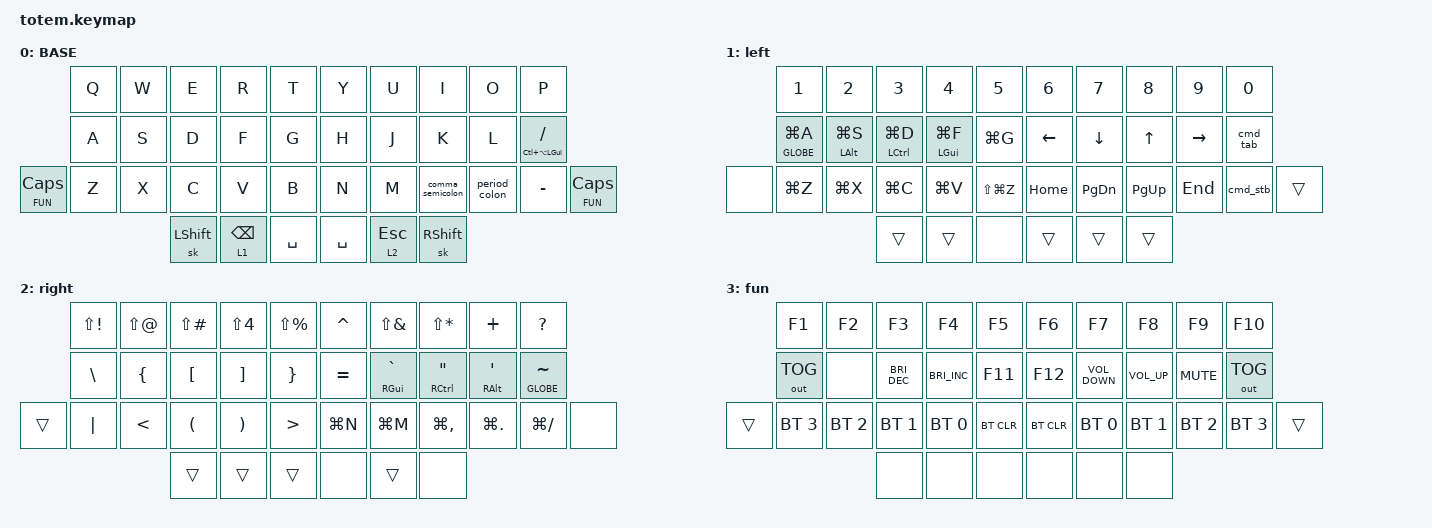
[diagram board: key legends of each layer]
//
//                                                        ▀▀▀▀▀     ▀▀▀▀▀          ▀▀█▀▀
//                                                        ▄▀▀▀▄  ▄  ▄▀▀▀▄  ▄  ▄▀▀▀▄  █  ▄▀▀▀▄
//                                                        █   █  █  █   █  █  █   █  █  █   █
//                                                         ▀▀▀   █   ▀▀▀   █   ▀▀▀   ▀   ▀▀▀
//                                                               █      ▄▄▄█▄▄▄    █   █  
//                                                               ▀      █  █  █     █▄█
//                                                             ▀▀▀▀▀    █  █  █      ▀
//                                                                      ▀  ▀  ▀
//
// ▄▄▄▄▄▄▄▄▄▄▄▄▄▄▄▄▄▄▄▄▄▄▄▄▄▄▄▄▄▄▄▄▄▄▄▄▄▄▄▄▄▄▄▄▄▄▄▄▄▄▄▄▄▄▄▄▄▄▄▄▄▄▄▄▄▄▄▄▄▄▄▄▄▄▄▄▄▄▄▄▄▄▄▄▄▄▄▄▄▄▄▄▄▄▄▄▄▄▄▄▄▄▄▄▄▄▄▄▄▄▄▄▄▄▄▄▄▄▄▄▄▄▄▄▄▄▄▄▄▄▄▄▄▄▄▄▄▄▄▄▄▄▄▄▄▄▄▄▄

#include <behaviors.dtsi>
#include <dt-bindings/zmk/bt.h>
#include <dt-bindings/zmk/keys.h>
#include <dt-bindings/zmk/outputs.h>

#define BASE 0
#define NAV  1
#define SYM  2
#define FUN  3

&caps_word { continue-list = <UNDERSCORE BACKSPACE DELETE LEFT_ARROW DOWN_ARROW UP_ARROW RIGHT_ARROW HOME END PAGE_DOWN PAGE_UP MINUS LEFT_SHIFT RIGHT_SHIFT>; };

&mt { tapping-term-ms = <150>; };

&lt { tapping-term-ms = <150>; };

&sk { quick-release; };

/ {
    combos {
        compatible = "zmk,combos";

        enter {
            bindings = <&kp RET>;
            key-positions = <16 17>;
            layers = <0>;
        };

        bs_df {
            bindings = <&bwd_dwd>;
            key-positions = <12 13>;
            layers = <0>;
        };

        caps_word {
            bindings = <&caps>;
            key-positions = <32 37>;
            layers = <0>;
        };

        cmd_shift_nav {
            bindings = <&cmd_shift>;
            key-positions = <12 13>;
            layers = <1>;
        };

        cmd_shift_sym {
            bindings = <&cmd_shift>;
            key-positions = <16 17>;
            layers = <2>;
        };
    };

    behaviors {
        cmd_shift: cmd_shift {
            compatible = "zmk,behavior-macro";
            label = "CMD_SHIFT";
            #binding-cells = <0>;
            bindings = <&macro_press &kp LSHIFT &kp LGUI>, <&macro_pause_for_release>, <&macro_release &kp LSHIFT &kp LGUI>;
        };

        comma_semicolon: comma_semicolon {
            compatible = "zmk,behavior-mod-morph";
            label = "COMMA_SEMICOLON";
            bindings = <&kp COMMA>, <&kp SEMICOLON>;

            #binding-cells = <0>;
            mods = <(MOD_LSFT|MOD_RSFT)>;
        };

        period_colon: period_colon {
            compatible = "zmk,behavior-mod-morph";
            label = "PERIOD_COLON";
            bindings = <&kp PERIOD>, <&kp COLON>;

            #binding-cells = <0>;
            mods = <(MOD_LSFT|MOD_RSFT)>;
        };

        cmd_tab: cmd_tab {
            compatible = "zmk,behavior-mod-morph";
            label = "CMD_TAB";
            bindings = <&kp TAB>, <&kp F21>;

            #binding-cells = <0>;
            mods = <(MOD_RGUI|MOD_LGUI)>;
            keep-mods = <(MOD_LSFT|MOD_RSFT)>;
        };

        cmd_stb: cmd_stb {
            compatible = "zmk,behavior-mod-morph";
            label = "CMD_STB";
            bindings = <&kp LS(TAB)>, <&kp F22>;

            #binding-cells = <0>;
            mods = <(MOD_RGUI|MOD_LGUI)>;
        };

        bwd_dwd: bwd_dwd {
            compatible = "zmk,behavior-mod-morph";
            label = "BWD_DWD";
            bindings = <&kp LA(BACKSPACE)>, <&kp LA(DEL)>;

            #binding-cells = <0>;
            mods = <(MOD_LSFT|MOD_RSFT)>;
        };

        caps: caps {
            compatible = "zmk,behavior-mod-morph";
            label = "CAPS";
            bindings = <&caps_word>, <&kp CAPSLOCK>;

            #binding-cells = <0>;
            mods = <(MOD_LSFT|MOD_RSFT)>;
        };

    };

    keymap {
        compatible = "zmk,keymap";

        // ▄▄▄▄▄▄▄▄▄▄▄▄▄▄▄▄▄▄▄▄▄▄▄▄▄▄▄▄▄▄▄▄▄▄▄▄▄▄▄▄▄▄▄▄▄▄▄▄▄▄▄▄▄▄▄▄▄▄▄▄▄▄▄▄▄▄▄▄▄▄▄▄▄▄▄▄▄▄▄▄▄▄▄▄▄▄▄▄▄▄▄▄▄▄▄▄▄▄▄▄▄▄▄▄▄▄▄▄▄▄▄▄▄▄▄▄▄▄▄▄▄▄▄▄▄▄▄▄▄▄▄▄▄▄▄▄▄▄▄▄▄▄▄▄▄▄▄▄▄

        base {
            // ┏━━━━━━━━━━━━━━━━━━━━━━━━━━━━━━━━━━━━━━━┓

            label = "BASE";

            // ┗━━━━━━━━━━━━━━━━━━━━━━━━━━━━━━━━━━━━━━━┛
            //             ┏━━━━━━━━━━━┳━━━━━━━━━━━┳━━━━━━━━━━━┳━━━━━━━━━━━┳━━━━━━━━━━━┓   ┏━━━━━━━━━━━┳━━━━━━━━━━━┳━━━━━━━━━━━┳━━━━━━━━━━━┳━━━━━━━━━━━┓
            //             ┃     Q     ┃     W     ┃     E     ┃     R     ┃     T     ┃   ┃     Z     ┃     U     ┃     I     ┃     O     ┃     P     ┃
            //             ┣━━━━━━━━━━━╋━━━━━━━━━━━╋━━━━━━━━━━━╋━━━━━━━━━━━╋━━━━━━━━━━━┫   ┣━━━━━━━━━━━╋━━━━━━━━━━━╋━━━━━━━━━━━╋━━━━━━━━━━━╋━━━━━━━━━━━┫
            //             ┃     A     ┃     S     ┃     D     ┃     F     ┃     G     ┃   ┃     H     ┃     J     ┃     K     ┃     L     ┃     -     ┃
            // ┏━━━━━━━━━━━╋━━━━━━━━━━━╋━━━━━━━━━━━╋━━━━━━━━━━━╋━━━━━━━━━━━╋━━━━━━━━━━━┫   ┣━━━━━━━━━━━╋━━━━━━━━━━━╋━━━━━━━━━━━╋━━━━━━━━━━━╋━━━━━━━━━━━╋━━━━━━━━━━━┓
            // ┃           ┃     Y     ┃     X     ┃     C     ┃     V     ┃     B     ┃   ┃     N     ┃     M     ┃     ,     ┃     .     ┃    TAB    ┃           ┃
            // ┗━━━━━━━━━━━┻━━━━━━━━━━━┻━━━━━━━━━━━╋━━━━━━━━━━━╋━━━━━━━━━━━╋━━━━━━━━━━━┫   ┣━━━━━━━━━━━╋━━━━━━━━━━━╋━━━━━━━━━━━╋━━━━━━━━━━━┻━━━━━━━━━━━┻━━━━━━━━━━━┛
            //                                     ┃  SK SHFT  ┃    MO1    ┃    ESC    ┃   ┃   SPACE   ┃    MO2    ┃   ENTER   ┃
            //                                     ┗━━━━━━━━━━━┻━━━━━━━━━━━┻━━━━━━━━━━━┛   ┗━━━━━━━━━━━┻━━━━━━━━━━━┻━━━━━━━━━━━┛

            bindings = <
              &kp Q  &kp W  &kp E           &kp R               &kp T        &kp Y      &kp U         &kp I             &kp O          &kp P
              &kp A  &kp S  &kp D           &kp F               &kp G        &kp H      &kp J         &kp K             &kp L          &mt LC(LA(LEFT_GUI)) SLASH
&lt FUN CAPSLOCK  &kp Z  &kp X  &kp C           &kp V               &kp B        &kp N      &kp M         &comma_semicolon  &period_colon  &kp MINUS                   &lt FUN CAPSLOCK
                            &sk LEFT_SHIFT  &lt 1 BACKSPACE  &kp SPACE    &kp SPACE  &lt 2 ESCAPE  &sk RIGHT_SHIFT
            >;
        };

        left {
            bindings = <
       &kp N1           &kp N2          &kp N3           &kp N4          &kp N5           &kp N6    &kp N7     &kp N8     &kp N9     &kp N0
       &mt GLOBE LG(A)  &mt LALT LG(S)  &mt LCTRL LG(D)  &mt LGUI LG(F)  &kp LG(G)        &kp LEFT  &kp DOWN   &kp UP     &kp RIGHT  &cmd_tab
&none  &kp LG(Z)        &kp LG(X)       &kp LG(C)        &kp LG(V)       &kp LS(LG(Z))    &kp HOME  &kp PG_DN  &kp PG_UP  &kp END    &cmd_stb  &trans
                                        &trans           &trans          &none            &trans    &trans     &trans
            >;
        };

        right {
            bindings = <
        &kp LS(EXCL)  &kp LS(AT)      &kp LS(POUND)         &kp LS(N4)             &kp LS(PRCNT)       &kp CARET  &kp LS(AMPS)    &kp LS(STAR)             &kp PLUS        &kp QUESTION
        &kp BSLH      &kp LEFT_BRACE  &kp LBKT              &kp RBKT               &kp RIGHT_BRACE     &kp EQUAL  &mt RGUI GRAVE  &mt RCTRL DOUBLE_QUOTES  &mt RALT SQT    &mt GLOBE TILDE
&trans  &kp PIPE      &kp LESS_THAN   &kp LEFT_PARENTHESIS  &kp RIGHT_PARENTHESIS  &kp GREATER_THAN    &kp LG(N)  &kp LG(M)       &kp LG(COMMA)            &kp LG(PERIOD)  &kp LG(SLASH)    &none
                                      &trans                &trans                 &trans              &none      &trans          &none
            >;
        };

        fun {
            bindings = <
        &kp F1        &kp F2        &kp F3         &kp F4                &kp F5        &kp F6      &kp F7             &kp F8           &kp F9        &kp F10
        &out OUT_TOG  &none         &kp C_BRI_DEC  &kp C_BRIGHTNESS_INC  &kp F11       &kp F12     &kp C_VOLUME_DOWN  &kp C_VOLUME_UP  &kp C_MUTE    &out OUT_TOG
&trans  &bt BT_SEL 3  &bt BT_SEL 2  &bt BT_SEL 1   &bt BT_SEL 0          &bt BT_CLR    &bt BT_CLR  &bt BT_SEL 0       &bt BT_SEL 1     &bt BT_SEL 2  &bt BT_SEL 3  &trans
                                    &none          &none                 &none         &none       &none              &none
            >;
        };
    };
};
